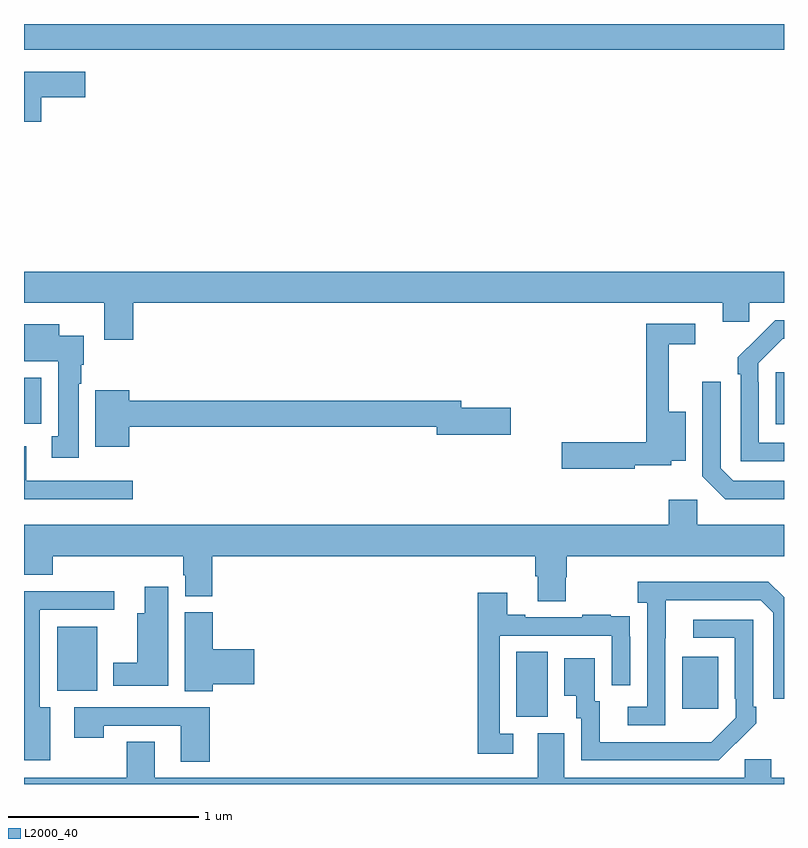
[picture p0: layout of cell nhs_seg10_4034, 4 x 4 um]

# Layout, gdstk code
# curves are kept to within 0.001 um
import gdstk
lib = gdstk.Library(unit=1e-6, precision=1e-09)
def R(c, l, rs):  # rectangles x0, y0, x1, y1
    for r in rs: c.add(gdstk.rectangle(r[:2], r[2:], *l))
def P(c, l, *ps):  # polygons
    for p in ps: c.add(gdstk.Polygon(p, *l))
L2000_40 = (2000, 40)

nhs_seg10_4034 = lib.new_cell('nhs_seg10_4034')
R(nhs_seg10_4034, L2000_40, [(337.592,1248.853,337.756,1249.196), (338.465,1248.897,338.653,1249.171), (335.174,1248.992,335.386,1249.327), (338.957,1250.393,339,1250.668), (335,1250.396,335.092,1250.638), (335,1252.364,339,1252.5)])
P(nhs_seg10_4034, L2000_40, [(335.092,1252.115),(335.323,1252.115),(335.323,1252.249),(335,1252.249),(335,1251.986),(335.092,1251.986)],
  [(335.576,1251.032),(338.678,1251.032),(338.678,1250.934),(338.817,1250.934),(338.817,1251.032),(339,1251.032),(339,1251.196),(335,1251.196),(335,1251.032),(335.423,1251.032),(335.423,1250.838),(335.576,1250.838)],
  [(339,1250.295),(338.868,1250.295),(338.868,1250.615),(338.865,1250.615),(338.865,1250.715),(338.994,1250.844),(339,1250.844),(339,1250.94),(338.954,1250.94),(338.757,1250.745),(338.757,1250.657),(338.772,1250.657),(338.772,1250.199),(339,1250.199)],
  [(338.214,1250.177),(338.406,1250.177),(338.406,1250.201),(338.482,1250.201),(338.482,1250.458),(338.393,1250.458),(338.393,1250.814),(338.533,1250.814),(338.533,1250.922),(338.275,1250.922),(338.275,1250.3),(337.83,1250.3),(337.83,1250.158),(338.214,1250.158)],
  [(335.287,1250.606),(335.302,1250.606),(335.302,1250.706),(335.314,1250.706),(335.314,1250.86),(335.185,1250.86),(335.185,1250.92),(335,1250.92),(335,1250.726),(335.18,1250.726),(335.18,1250.33),(335.147,1250.33),(335.147,1250.217),(335.287,1250.217)],
  [(339,1250.097),(338.733,1250.097),(338.667,1250.163),(338.667,1250.617),(338.571,1250.617),(338.571,1250.121),(338.692,1250),(339,1250)],
  [(335.554,1250.38),(337.172,1250.38),(337.172,1250.338),(337.561,1250.338),(337.561,1250.48),(337.3,1250.48),(337.3,1250.516),(335.554,1250.516),(335.554,1250.572),(335.375,1250.572),(335.375,1250.276),(335.554,1250.276)],
  [(335.572,1250.097),(335.011,1250.097),(335.011,1250.278),(335,1250.278),(335,1250),(335.572,1250)],
  [(337.851,1249.587),(337.856,1249.587),(337.856,1249.7),(339,1249.7),(339,1249.864),(338.544,1249.864),(338.544,1249.996),(338.393,1249.996),(338.393,1249.864),(335,1249.864),(335,1249.601),(335.15,1249.601),(335.15,1249.7),(335.837,1249.7),(335.837,1249.599),(335.849,1249.599),(335.849,1249.489),(335.99,1249.489),(335.99,1249.7),(337.691,1249.7),(337.691,1249.594),(337.703,1249.594),(337.703,1249.462),(337.851,1249.462)],
  [(338.376,1249.267),(338.377,1249.467),(338.877,1249.467),(338.943,1249.401),(338.943,1248.948),(339,1248.948),(339,1249.482),(338.918,1249.564),(338.229,1249.564),(338.229,1249.454),(338.28,1249.454),(338.28,1248.906),(338.178,1248.906),(338.178,1248.81),(338.376,1248.81)],
  [(335.758,1249.537),(335.636,1249.537),(335.636,1249.399),(335.597,1249.399),(335.597,1249.138),(335.471,1249.138),(335.471,1249.016),(335.758,1249.016)],
  [(335.137,1248.904),(335.083,1248.904),(335.083,1249.416),(335.476,1249.416),(335.476,1249.514),(335,1249.514),(335,1248.626),(335.137,1248.626)],
  [(337.576,1248.765),(337.503,1248.765),(337.503,1249.281),(338.094,1249.281),(338.094,1249.02),(338.19,1249.02),(338.19,1249.274),(338.189,1249.274),(338.189,1249.383),(338.087,1249.383),(338.087,1249.39),(337.939,1249.39),(337.939,1249.377),(337.639,1249.377),(337.639,1249.39),(337.543,1249.39),(337.543,1249.507),(337.387,1249.507),(337.387,1248.66),(337.576,1248.66)],
  [(335.993,1249.025),(336.211,1249.025),(336.211,1249.208),(335.993,1249.208),(335.993,1249.404),(335.846,1249.404),(335.846,1248.988),(335.993,1248.988)],
  [(338.747,1248.715),(338.748,1248.714),(338.853,1248.819),(338.853,1248.907),(338.838,1248.907),(338.838,1249.365),(338.523,1249.365),(338.523,1249.269),(338.742,1249.269),(338.742,1248.949),(338.745,1248.949),(338.745,1248.849),(338.617,1248.721),(338.029,1248.72),(338.029,1248.936),(338.005,1248.936),(338.005,1249.162),(337.844,1249.162),(337.844,1248.965),(337.907,1248.965),(337.907,1248.846),(337.932,1248.846),(337.932,1248.624),(338.656,1248.624)],
  [(335.978,1248.903),(335.265,1248.903),(335.265,1248.744),(335.421,1248.744),(335.421,1248.807),(335.825,1248.807),(335.825,1248.618),(335.978,1248.618)],
  [(339,1248.532),(338.932,1248.532),(338.932,1248.63),(338.793,1248.63),(338.793,1248.532),(337.843,1248.532),(337.843,1248.768),(337.703,1248.768),(337.703,1248.532),(335.689,1248.532),(335.689,1248.722),(335.542,1248.722),(335.542,1248.532),(335,1248.532),(335,1248.5),(339,1248.5)])

lib.write_gds('nhs_seg10_4034.gds')
